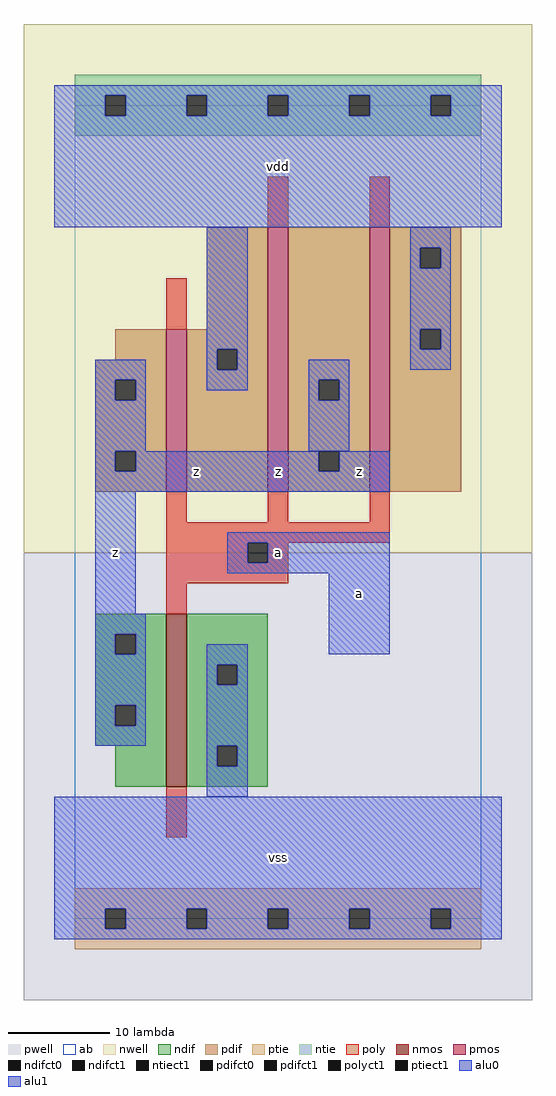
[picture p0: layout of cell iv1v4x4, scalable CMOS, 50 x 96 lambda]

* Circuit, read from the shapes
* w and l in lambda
.subckt iv1v4x4 a vdd vss z
M1 vss a z vss nfet w=17 l=2
M2 vdd a z vdd pfet w=16 l=2
M3 z a vdd vdd pfet w=26 l=2 m=2
.ends

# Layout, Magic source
magic
tech scmos
<< ab >>
rect 0 0 40 80
<< nwell >>
rect -5 36 45 88
<< pwell >>
rect -5 -8 45 36
<< poly >>
rect 19 68 21 73
rect 29 68 31 73
rect 9 58 11 63
rect 9 39 11 42
rect 19 39 21 42
rect 29 39 31 42
rect 9 37 31 39
rect 9 35 17 37
rect 19 35 21 37
rect 9 33 21 35
rect 9 30 11 33
rect 9 8 11 13
<< ndif >>
rect 2 28 9 30
rect 2 26 4 28
rect 6 26 9 28
rect 2 21 9 26
rect 2 19 4 21
rect 6 19 9 21
rect 2 17 9 19
rect 4 13 9 17
rect 11 25 19 30
rect 11 23 14 25
rect 16 23 19 25
rect 11 17 19 23
rect 11 15 14 17
rect 16 15 19 17
rect 11 13 19 15
<< pdif >>
rect 13 58 19 68
rect 4 55 9 58
rect 2 53 9 55
rect 2 51 4 53
rect 6 51 9 53
rect 2 46 9 51
rect 2 44 4 46
rect 6 44 9 46
rect 2 42 9 44
rect 11 56 19 58
rect 11 54 14 56
rect 16 54 19 56
rect 11 42 19 54
rect 21 53 29 68
rect 21 51 24 53
rect 26 51 29 53
rect 21 46 29 51
rect 21 44 24 46
rect 26 44 29 46
rect 21 42 29 44
rect 31 66 38 68
rect 31 64 34 66
rect 36 64 38 66
rect 31 58 38 64
rect 31 56 34 58
rect 36 56 38 58
rect 31 42 38 56
<< alu1 >>
rect -2 81 42 82
rect -2 79 3 81
rect 5 79 11 81
rect 13 79 19 81
rect 21 79 27 81
rect 29 79 35 81
rect 37 79 42 81
rect -2 68 42 79
rect 2 53 7 55
rect 2 51 4 53
rect 6 51 7 53
rect 2 46 7 51
rect 2 44 4 46
rect 6 44 24 46
rect 26 44 31 46
rect 2 42 31 44
rect 2 30 6 42
rect 15 37 31 38
rect 15 35 17 37
rect 19 35 31 37
rect 15 34 31 35
rect 2 28 7 30
rect 2 26 4 28
rect 6 26 7 28
rect 2 21 7 26
rect 2 19 4 21
rect 6 19 7 21
rect 2 17 7 19
rect 25 26 31 34
rect -2 1 42 12
rect -2 -1 3 1
rect 5 -1 11 1
rect 13 -1 19 1
rect 21 -1 27 1
rect 29 -1 35 1
rect 37 -1 42 1
rect -2 -2 42 -1
<< ptie >>
rect 0 1 40 3
rect 0 -1 3 1
rect 5 -1 11 1
rect 13 -1 19 1
rect 21 -1 27 1
rect 29 -1 35 1
rect 37 -1 40 1
rect 0 -3 40 -1
<< ntie >>
rect 0 81 40 83
rect 0 79 3 81
rect 5 79 11 81
rect 13 79 19 81
rect 21 79 27 81
rect 29 79 35 81
rect 37 79 40 81
rect 0 77 40 79
<< nmos >>
rect 9 13 11 30
<< pmos >>
rect 9 42 11 58
rect 19 42 21 68
rect 29 42 31 68
<< polyct1 >>
rect 17 35 19 37
<< ndifct0 >>
rect 14 23 16 25
rect 14 15 16 17
<< ndifct1 >>
rect 4 26 6 28
rect 4 19 6 21
<< ntiect1 >>
rect 3 79 5 81
rect 11 79 13 81
rect 19 79 21 81
rect 27 79 29 81
rect 35 79 37 81
<< ptiect1 >>
rect 3 -1 5 1
rect 11 -1 13 1
rect 19 -1 21 1
rect 27 -1 29 1
rect 35 -1 37 1
<< pdifct0 >>
rect 14 54 16 56
rect 24 51 26 53
rect 34 64 36 66
rect 34 56 36 58
<< pdifct1 >>
rect 4 51 6 53
rect 4 44 6 46
rect 24 44 26 46
<< alu0 >>
rect 13 56 17 68
rect 13 54 14 56
rect 16 54 17 56
rect 33 66 37 68
rect 33 64 34 66
rect 36 64 37 66
rect 33 58 37 64
rect 33 56 34 58
rect 36 56 37 58
rect 13 52 17 54
rect 23 53 27 55
rect 33 54 37 56
rect 23 51 24 53
rect 26 51 27 53
rect 23 46 27 51
rect 13 25 17 27
rect 13 23 14 25
rect 16 23 17 25
rect 13 17 17 23
rect 13 15 14 17
rect 16 15 17 17
rect 13 12 17 15
<< labels >>
rlabel alu1 4 36 4 36 6 z
rlabel alu1 12 44 12 44 6 z
rlabel alu1 20 6 20 6 6 vss
rlabel alu1 20 36 20 36 6 a
rlabel alu1 28 32 28 32 6 a
rlabel alu1 28 44 28 44 6 z
rlabel alu1 20 44 20 44 6 z
rlabel alu1 20 74 20 74 6 vdd
<< end >>
